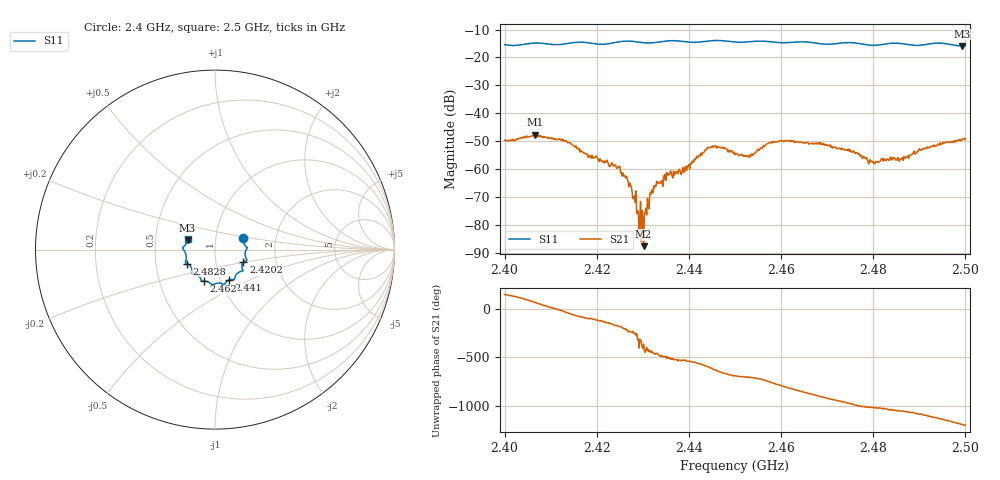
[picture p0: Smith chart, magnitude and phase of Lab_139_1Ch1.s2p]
# Hz S RI R 50
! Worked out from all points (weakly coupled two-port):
!   601 points, 2.4 GHz to 2.5 GHz, reference 50 ohm
!   highest |S21| = -47.68 dB at 2.4067 GHz (marker M1); lowest = -87.5 dB at 2.4302 GHz (marker M2)
!   lowest |S11| = -15.8 dB at 2.4993 GHz (marker M3), VSWR 1.39, Z = 36.6 + j3.86 ohm
!   |S11| at or under -10 dB: start of sweep to end of sweep
!   S12 and S22 are empty: the file has one direction only
!   S11 on the Smith chart (normalised r, x): 2.4 GHz: 1.36, +0.18; 2.4202 GHz: 1.36, -0.20; 2.441 GHz: 1.10, -0.39; 2.462 GHz: 0.84, -0.30; 2.4828 GHz: 0.72, -0.12; 2.5 GHz: 0.73, +0.09
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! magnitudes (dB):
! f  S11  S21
! 2.4 GHz  -15.4  -49.6
! 2.4067 GHz  -14.9  -47.7
! 2.4167 GHz  -14.5  -53.6
! 2.4202 GHz  -15.2  -55.9
! 2.4262 GHz  -14.2  -62.3
! 2.428 GHz  -14.3  -70.0
! 2.4292 GHz  -14.5  -81.2
! 2.4302 GHz  -14.7  -87.5
! 2.432 GHz  -14.8  -67.3
! 2.4333 GHz  -14.5  -64.6
! 2.441 GHz  -14.6  -56.7
! 2.4453 GHz  -13.9  -52.1
! 2.45 GHz  -14.5  -54.8
! 2.4533 GHz  -14.3  -55.6
! 2.4573 GHz  -14.3  -50.6
! 2.462 GHz  -14.6  -50.1
! 2.4667 GHz  -14.6  -50.8
! 2.4793 GHz  -15.6  -56.6
! 2.4828 GHz  -15.1  -56.9
! 2.4833 GHz  -15.0  -56.8
! 2.4993 GHz  -15.8  -49.2
! 2.5 GHz  -15.7  -49.1
